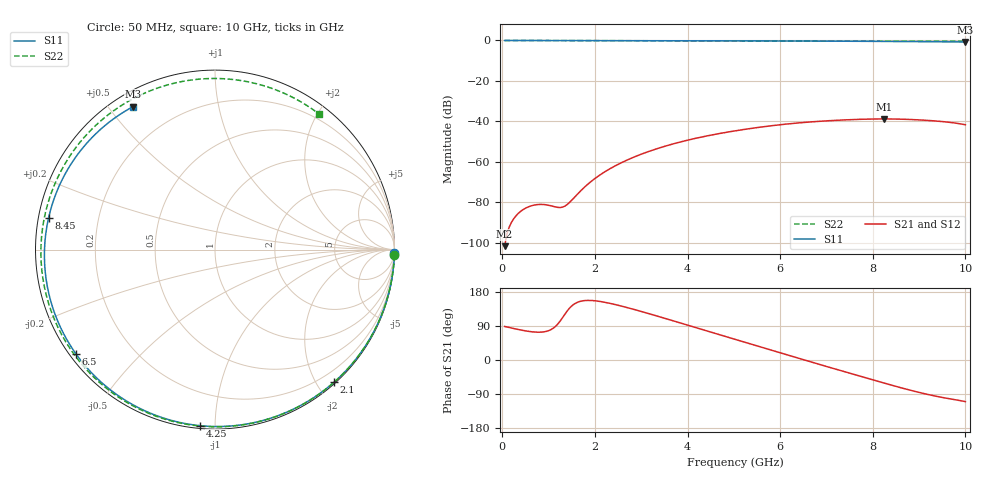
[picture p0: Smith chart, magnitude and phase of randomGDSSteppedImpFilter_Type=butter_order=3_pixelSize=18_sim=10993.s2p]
! freq	dB(S11)	phase(S11)	dB(S12)	phase(S12)
!  dB(S21)	phase(S21)	dB(S22)	phase(S22)
!S-par simulation data
#  GHz  S  DB  R 50
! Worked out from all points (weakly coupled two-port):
!   200 points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, 50 MHz to 10 GHz, reference 50 ohm
!   highest |S21| = -38.83 dB at 8.25 GHz (marker M1); lowest = -101.8 dB at 50 MHz (marker M2)
!   lowest |S11| = -0.7 dB at 10 GHz (marker M3), VSWR 23.39, Z = 2.86 + j28.9 ohm
!   |S11| at or under -10 dB: nowhere
!   |S22| runs from -0.4 to 0.0 dB; largest |S21 - S12| = 0
!   S11 on the Smith chart (normalised r, x): 50 MHz: 0, -97; 2.1 GHz: 0.02, -2.24; 4.25 GHz: 0.01, -0.92; 6.5 GHz: 0.02, -0.33; 8.45 GHz: 0.03, +0.10; 10 GHz: 0.06, +0.58
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0.05  -0.00 -1.2  -101.78 88.6  -101.78 88.6  -0.00 -1.8
0.35  -0.01 -8.2  -85.46 80.4  -85.46 80.4  -0.02 -12.4
0.7  -0.02 -16.3  -81.40 73.7  -81.40 73.7  -0.03 -24.8
1.45  -0.04 -33.5  -80.19 136.6  -80.19 136.6  -0.06 -50.5
1.75  -0.05 -40.3  -73.12 156.4  -73.12 156.4  -0.08 -60.5
2.1  -0.06 -48.1  -66.68 154.7  -66.68 154.7  -0.09 -71.9
2.4  -0.07 -54.8  -62.51 147.4  -62.51 147.4  -0.10 -81.4
2.7  -0.08 -61.4  -59.12 138.2  -59.12 138.2  -0.11 -90.7
3.4  -0.10 -76.6  -53.12 113.9  -53.12 113.9  -0.14 -111.6
4.25  -0.14 -94.8  -48.04 82.8  -48.04 82.8  -0.18 -135.9
5.05  -0.18 -111.7  -44.64 53.6  -44.64 53.6  -0.22 -158.0
5.8  -0.22 -127.7  -42.23 26.5  -42.23 26.5  -0.26 -178.7
6.5  -0.28 -143.0  -40.59 0.9  -40.59 0.9  -0.30 161.7
6.7  -0.30 -147.5  -40.23 -6.3  -40.23 -6.3  -0.32 156.0
7.45  -0.37 -165.1  -39.25 -32.9  -39.25 -32.9  -0.36 134.1
8.25  -0.47 174.6  -38.83 -61.1  -38.83 -61.1  -0.40 109.5
8.35  -0.49 171.8  -38.84 -64.5  -38.84 -64.5  -0.40 106.4
8.45  -0.50 169.1  -38.87 -67.9  -38.87 -67.9  -0.40 103.2
8.85  -0.56 157.6  -39.14 -81.0  -39.14 -81.0  -0.41 90.4
9.2  -0.61 146.9  -39.58 -91.3  -39.58 -91.3  -0.42 79.0
9.6  -0.68 133.8  -40.36 -101.1  -40.36 -101.1  -0.42 65.8
10  -0.74 119.7  -41.71 -109.8  -41.71 -109.8  -0.43 52.6
